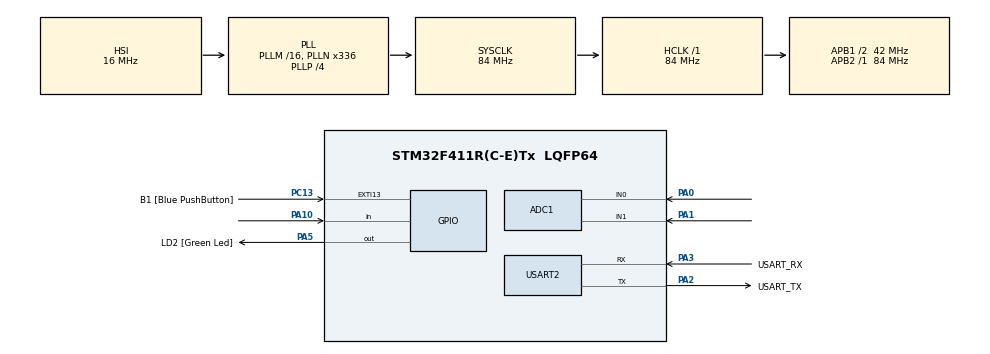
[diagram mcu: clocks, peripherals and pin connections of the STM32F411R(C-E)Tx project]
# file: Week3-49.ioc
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Mcu.Family=STM32F4
PC15-OSC32_OUT.Mode=LSE-External-Oscillator
RCC.CortexFreq_Value=84000000
ADC1.Rank-0\#ChannelRegularConversion=1
VP_ADC1_TempSens_Input.Mode=IN-TempSens
PC13-ANTI_TAMP.GPIO_Label=B1 [Blue PushButton]
PA14.GPIO_Label=TCK
PH1\ -\ OSC_OUT.Mode=HSE-External-Clock-Source
RCC.APB1CLKDivider=RCC_HCLK_DIV2
PC14-OSC32_IN.Signal=RCC_OSC32_IN
RCC.SYSCLKSource=RCC_SYSCLKSOURCE_PLLCLK
ProjectManager.StackSize=0x400
PA0-WKUP.Signal=ADCx_IN0
PA13.Signal=SYS_JTMS-SWDIO
PA3.Mode=Asynchronous
PH0\ -\ OSC_IN.Mode=HSE-External-Clock-Source
PH0\ -\ OSC_IN.Signal=RCC_OSC_IN
ProjectManager.TargetToolchain=STM32CubeIDE
RCC.HCLKFreq_Value=84000000
RCC.APB2TimFreq_Value=84000000
PC15-OSC32_OUT.Signal=RCC_OSC32_OUT
PA1.Signal=ADCx_IN1
RCC.AHBFreq_Value=84000000
PA5.Signal=GPIO_Output
ADC1.Channel-0\#ChannelRegularConversion=ADC_CHANNEL_0
RCC.HSE_VALUE=8000000
PH1\ -\ OSC_OUT.Signal=RCC_OSC_OUT
board=NUCLEO-F411RE
PC13-ANTI_TAMP.Signal=GPXTI13
RCC.VCOOutputFreq_Value=336000000
RCC.APB2Freq_Value=84000000
PC14-OSC32_IN.Mode=LSE-External-Oscillator
PA14.Mode=Serial_Wire
SH.ADCx_IN0.0=ADC1_IN0,IN0
PA13.Mode=Serial_Wire
Mcu.Name=STM32F411R(C-E)Tx
ADC1.SamplingTime-0\#ChannelRegularConversion=ADC_SAMPLETIME_3CYCLES
PA2.Signal=USART2_TX
PA13.GPIO_Label=TMS
RCC.FLatency-AdvancedSettings=FLASH_LATENCY_2
RCC.48MHZClocksFreq_Value=84000000
PB3.Signal=SYS_JTDO-SWO
RCC.SYSCLKFreq_VALUE=84000000
Mcu.Package=LQFP64
ADC1.master=1
PA5.GPIO_Label=LD2 [Green Led]
USART2.VirtualMode=VM_ASYNC
PC13-ANTI_TAMP.GPIO_ModeDefaultEXTI=GPIO_MODE_IT_FALLING
PA2.GPIO_Label=USART_TX
PA10.Signal=GPIO_Input
PA14.Signal=SYS_JTCK-SWCLK
ProjectManager.HeapSize=0x200
RCC.HSI_VALUE=16000000
RCC.PLLP=RCC_PLLP_DIV4
NVIC.PriorityGroup=NVIC_PRIORITYGROUP_0
ADC1.NbrOfConversionFlag=1
SH.ADCx_IN1.0=ADC1_IN1,IN1
RCC.PLLN=336
RCC.APB1TimFreq_Value=84000000
PA2.Mode=Asynchronous
RCC.APB1Freq_Value=42000000
PA3.GPIO_Label=USART_RX
PA3.Signal=USART2_RX
PB3.GPIO_Label=SWO

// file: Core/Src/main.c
/* USER CODE BEGIN Header */
/**
 ******************************************************************************
 * @file           : main.c
 * @brief          : Main program body
 ******************************************************************************
 * @attention
 *
 * <h2><center>&copy; Copyright (c) 2021 STMicroelectronics.
 * All rights reserved.</center></h2>
 *
 * This software component is licensed by ST under BSD 3-Clause license,
 * the "License"; You may not use this file except in compliance with the
 * License. You may obtain a copy of the License at:
 *                        opensource.org/licenses/BSD-3-Clause
 *
 ******************************************************************************
 */
/* USER CODE END Header */
#include "main.h"

ADC_HandleTypeDef hadc1;

UART_HandleTypeDef huart2;

/* USER CODE BEGIN PV */
uint16_t adcdata[2] = { 0 };

typedef struct {
	ADC_ChannelConfTypeDef Config;
	uint16_t data;
} ADCStructure;

ADCStructure ADCChannel[3] = {0};
int ADCMode = 0;
float ADCOutputConverted = 0;
GPIO_PinState StateSW[2];
uint32_t ButtonTimeStamp = 0;

/* USER CODE END PV */

void SystemClock_Config(void);
static void MX_GPIO_Init(void);
static void MX_USART2_UART_Init(void);
static void MX_ADC1_Init(void);
/* USER CODE BEGIN PFP */
void ADCPollingMethodInit();
void ADCPollingMethodUpdate();
/* USER CODE END PFP */

int main(void) {

	/* MCU Configuration--------------------------------------------------------*/

	/* Reset of all peripherals, Initializes the Flash interface and the Systick. */
	HAL_Init();

	/* Configure the system clock */
	SystemClock_Config();

	/* Initialize all configured peripherals */
	MX_GPIO_Init();
	MX_USART2_UART_Init();
	MX_ADC1_Init();
	/* USER CODE BEGIN 2 */
	ADCPollingMethodInit();

	/* USER CODE END 2 */

	/* Infinite loop */
while (1)
{

		/* USER CODE BEGIN 3 */
	ADCPollingMethodUpdate();

/* ==================================================================== Change Mode ===================================================================== */
	if(HAL_GetTick() - ButtonTimeStamp >= 100)
	{
		ButtonTimeStamp = HAL_GetTick();
		StateSW[0] = HAL_GPIO_ReadPin(GPIOA, GPIO_PIN_10);
		if(StateSW[1] == GPIO_PIN_SET && StateSW[0] == GPIO_PIN_RESET)
		{
			if(ADCMode == 0)
			{
				ADCMode = 1;
			}
			else
			{
				ADCMode = 0;
			}
		}
	}
	StateSW[1] = StateSW[0];
/* =================================================================== Mode Function ==================================================================== */
	if(ADCMode == 0)
	{
		ADCOutputConverted = (3300 * ADCChannel[0].data) / 4096 ;
	}
	else
	{
		ADCOutputConverted = ((((3300 * ADCChannel[2].data) / 4096) - 760) / 2.5) + 25 ;
	}
/* ======================================================================= Finish ======================================================================= */
}
	/* USER CODE END 3 */
}

void SystemClock_Config(void) {
	RCC_OscInitTypeDef RCC_OscInitStruct = { 0 };
	RCC_ClkInitTypeDef RCC_ClkInitStruct = { 0 };

	/** Configure the main internal regulator output voltage
	 */
	__HAL_RCC_PWR_CLK_ENABLE();
	__HAL_PWR_VOLTAGESCALING_CONFIG(PWR_REGULATOR_VOLTAGE_SCALE1);
	/** Initializes the RCC Oscillators according to the specified parameters
	 * in the RCC_OscInitTypeDef structure.
	 */
	RCC_OscInitStruct.OscillatorType = RCC_OSCILLATORTYPE_HSI;
	RCC_OscInitStruct.HSIState = RCC_HSI_ON;
	RCC_OscInitStruct.HSICalibrationValue = RCC_HSICALIBRATION_DEFAULT;
	RCC_OscInitStruct.PLL.PLLState = RCC_PLL_ON;
	RCC_OscInitStruct.PLL.PLLSource = RCC_PLLSOURCE_HSI;
	RCC_OscInitStruct.PLL.PLLM = 16;
	RCC_OscInitStruct.PLL.PLLN = 336;
	RCC_OscInitStruct.PLL.PLLP = RCC_PLLP_DIV4;
	RCC_OscInitStruct.PLL.PLLQ = 4;
	if (HAL_RCC_OscConfig(&RCC_OscInitStruct) != HAL_OK) {
		Error_Handler();
	}
	/** Initializes the CPU, AHB and APB buses clocks
	 */
	RCC_ClkInitStruct.ClockType = RCC_CLOCKTYPE_HCLK | RCC_CLOCKTYPE_SYSCLK
			| RCC_CLOCKTYPE_PCLK1 | RCC_CLOCKTYPE_PCLK2;
	RCC_ClkInitStruct.SYSCLKSource = RCC_SYSCLKSOURCE_PLLCLK;
	RCC_ClkInitStruct.AHBCLKDivider = RCC_SYSCLK_DIV1;
	RCC_ClkInitStruct.APB1CLKDivider = RCC_HCLK_DIV2;
	RCC_ClkInitStruct.APB2CLKDivider = RCC_HCLK_DIV1;

	if (HAL_RCC_ClockConfig(&RCC_ClkInitStruct, FLASH_LATENCY_2) != HAL_OK) {
		Error_Handler();
	}
}

static void MX_ADC1_Init(void) {

	ADC_ChannelConfTypeDef sConfig = { 0 };

	/** Configure the global features of the ADC (Clock, Resolution, Data Alignment and number of conversion)
	 */
	hadc1.Instance = ADC1;
	hadc1.Init.ClockPrescaler = ADC_CLOCK_SYNC_PCLK_DIV4;
	hadc1.Init.Resolution = ADC_RESOLUTION_12B;
	hadc1.Init.ScanConvMode = DISABLE;
	hadc1.Init.ContinuousConvMode = DISABLE;
	hadc1.Init.DiscontinuousConvMode = DISABLE;
	hadc1.Init.ExternalTrigConvEdge = ADC_EXTERNALTRIGCONVEDGE_NONE;
	hadc1.Init.ExternalTrigConv = ADC_SOFTWARE_START;
	hadc1.Init.DataAlign = ADC_DATAALIGN_RIGHT;
	hadc1.Init.NbrOfConversion = 1;
	hadc1.Init.DMAContinuousRequests = DISABLE;
	hadc1.Init.EOCSelection = ADC_EOC_SINGLE_CONV;
	if (HAL_ADC_Init(&hadc1) != HAL_OK) {
		Error_Handler();
	}
	/** Configure for the selected ADC regular channel its corresponding rank in the sequencer and its sample time.
	 */
	sConfig.Channel = ADC_CHANNEL_0;
	sConfig.Rank = 1;
	sConfig.SamplingTime = ADC_SAMPLETIME_3CYCLES;
	if (HAL_ADC_ConfigChannel(&hadc1, &sConfig) != HAL_OK) {
		Error_Handler();
	}

}

static void MX_USART2_UART_Init(void) {

	huart2.Instance = USART2;
	huart2.Init.BaudRate = 115200;
	huart2.Init.WordLength = UART_WORDLENGTH_8B;
	huart2.Init.StopBits = UART_STOPBITS_1;
	huart2.Init.Parity = UART_PARITY_NONE;
	huart2.Init.Mode = UART_MODE_TX_RX;
	huart2.Init.HwFlowCtl = UART_HWCONTROL_NONE;
	huart2.Init.OverSampling = UART_OVERSAMPLING_16;
	if (HAL_UART_Init(&huart2) != HAL_OK) {
		Error_Handler();
	}

}

static void MX_GPIO_Init(void) {
	GPIO_InitTypeDef GPIO_InitStruct = { 0 };

	/* GPIO Ports Clock Enable */
	__HAL_RCC_GPIOC_CLK_ENABLE();
	__HAL_RCC_GPIOH_CLK_ENABLE();
	__HAL_RCC_GPIOA_CLK_ENABLE();
	__HAL_RCC_GPIOB_CLK_ENABLE();

	/*Configure GPIO pin Output Level */
	HAL_GPIO_WritePin(LD2_GPIO_Port, LD2_Pin, GPIO_PIN_RESET);

	/*Configure GPIO pin : B1_Pin */
	GPIO_InitStruct.Pin = B1_Pin;
	GPIO_InitStruct.Mode = GPIO_MODE_IT_FALLING;
	GPIO_InitStruct.Pull = GPIO_NOPULL;
	HAL_GPIO_Init(B1_GPIO_Port, &GPIO_InitStruct);

	/*Configure GPIO pin : LD2_Pin */
	GPIO_InitStruct.Pin = LD2_Pin;
	GPIO_InitStruct.Mode = GPIO_MODE_OUTPUT_PP;
	GPIO_InitStruct.Pull = GPIO_NOPULL;
	GPIO_InitStruct.Speed = GPIO_SPEED_FREQ_LOW;
	HAL_GPIO_Init(LD2_GPIO_Port, &GPIO_InitStruct);

}

/* USER CODE BEGIN 4 */
void ADCPollingMethodInit() {
	//config all ADC Channel
	ADCChannel[0].Config.Channel = ADC_CHANNEL_0;
	ADCChannel[0].Config.Rank = 1;
	ADCChannel[0].Config.SamplingTime = ADC_SAMPLETIME_3CYCLES;

	ADCChannel[1].Config.Channel = ADC_CHANNEL_1;
	ADCChannel[1].Config.Rank = 1;
	ADCChannel[1].Config.SamplingTime = ADC_SAMPLETIME_3CYCLES;

	ADCChannel[2].Config.Channel = ADC_CHANNEL_TEMPSENSOR;
	ADCChannel[2].Config.Rank = 1;
	ADCChannel[2].Config.SamplingTime = ADC_SAMPLETIME_3CYCLES;
}
//Polling Method
void ADCPollingMethodUpdate()
{
	//Read all 3 Channel
	for (int i = 0; i < 3; i++)
	{
		HAL_ADC_ConfigChannel(&hadc1, &ADCChannel[i].Config);
		HAL_ADC_Start(&hadc1);
		if (HAL_ADC_PollForConversion(&hadc1, 10) == HAL_OK)
		{
			ADCChannel[i].data = HAL_ADC_GetValue(&hadc1);
		}
		HAL_ADC_Stop(&hadc1);
	}
}
/* USER CODE END 4 */

void Error_Handler(void)
{
	__disable_irq();
while (1)
{
}
}

/************************ (C) COPYRIGHT STMicroelectronics *****END OF FILE****/
